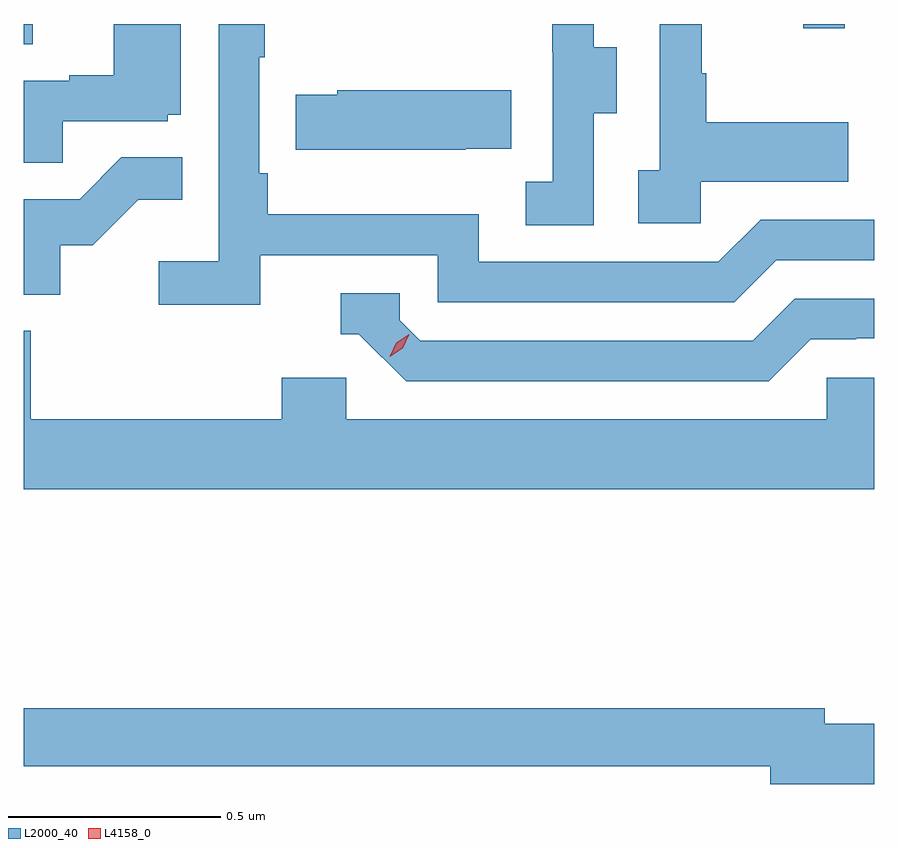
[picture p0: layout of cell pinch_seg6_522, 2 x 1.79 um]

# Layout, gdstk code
import gdstk
lib = gdstk.Library(unit=1e-6, precision=1e-09)
def R(c, l, rs):  # rectangles x0, y0, x1, y1
    for r in rs: c.add(gdstk.rectangle(r[:2], r[2:], *l))
def P(c, l, *ps):  # polygons
    for p in ps: c.add(gdstk.Polygon(p, *l))
L2000_40 = (2000, 40)
L4158_0 = (4158, 0)

pinch_seg6_522 = lib.new_cell('pinch_seg6_522')
R(pinch_seg6_522, L2000_40, [(878.65,925.738,878.671,925.786), (880.484,925.776,880.581,925.786), (879.556,925.785,879.703,925.786)])
P(pinch_seg6_522, L2000_40, [(879.99,925.576),(880.045,925.576),(880.045,925.731),(879.991,925.731),(879.991,925.786),(879.893,925.786),(879.893,925.719),(879.894,925.719),(879.894,925.415),(879.831,925.415),(879.831,925.312),(879.99,925.312)],
  [(878.741,925.557),(878.988,925.557),(878.988,925.572),(879.019,925.572),(879.019,925.786),(878.861,925.786),(878.861,925.666),(878.757,925.666),(878.757,925.653),(878.65,925.653),(878.65,925.459),(878.741,925.459)],
  [(879.206,925.242),(879.624,925.242),(879.624,925.131),(880.321,925.131),(880.42,925.23),(880.65,925.23),(880.65,925.326),(880.383,925.326),(880.284,925.227),(879.72,925.227),(879.72,925.339),(879.224,925.339),(879.224,925.435),(879.204,925.435),(879.204,925.708),(879.217,925.708),(879.217,925.786),(879.108,925.786),(879.108,925.228),(878.967,925.228),(878.967,925.126),(879.206,925.126)],
  [(880.242,925.415),(880.589,925.415),(880.589,925.555),(880.255,925.555),(880.255,925.67),(880.245,925.67),(880.245,925.786),(880.146,925.786),(880.146,925.442),(880.095,925.442),(880.095,925.317),(880.242,925.317)],
  [(879.689,925.493),(879.797,925.493),(879.797,925.63),(879.387,925.63),(879.387,925.62),(879.289,925.62),(879.289,925.49),(879.689,925.49)],
  [(878.736,925.266),(878.812,925.266),(878.919,925.373),(879.023,925.373),(879.023,925.472),(878.879,925.472),(878.781,925.374),(878.65,925.374),(878.65,925.149),(878.736,925.149)],
  [(880.501,925.044),(880.608,925.044),(880.608,925.047),(880.65,925.047),(880.65,925.14),(880.464,925.14),(880.365,925.041),(879.582,925.041),(879.534,925.089),(879.534,925.152),(879.395,925.152),(879.395,925.056),(879.438,925.056),(879.549,924.945),(880.402,924.945)],
  [(880.65,924.954),(880.539,924.954),(880.539,924.856),(879.408,924.856),(879.408,924.954),(879.257,924.954),(879.257,924.856),(878.666,924.856),(878.666,925.064),(878.65,925.064),(878.65,924.692),(880.65,924.692)],
  [(880.65,924.14),(880.534,924.14),(880.534,924.176),(878.65,924.176),(878.65,924.04),(880.406,924.04),(880.406,923.998),(880.65,923.998)])
P(pinch_seg6_522, L4158_0, [(879.511,925.003),(879.511,925.003),(879.526,925.036),(879.557,925.056),(879.557,925.056),(879.557,925.056),(879.541,925.023),(879.511,925.003)])

lib.write_gds('pinch_seg6_522.gds')
